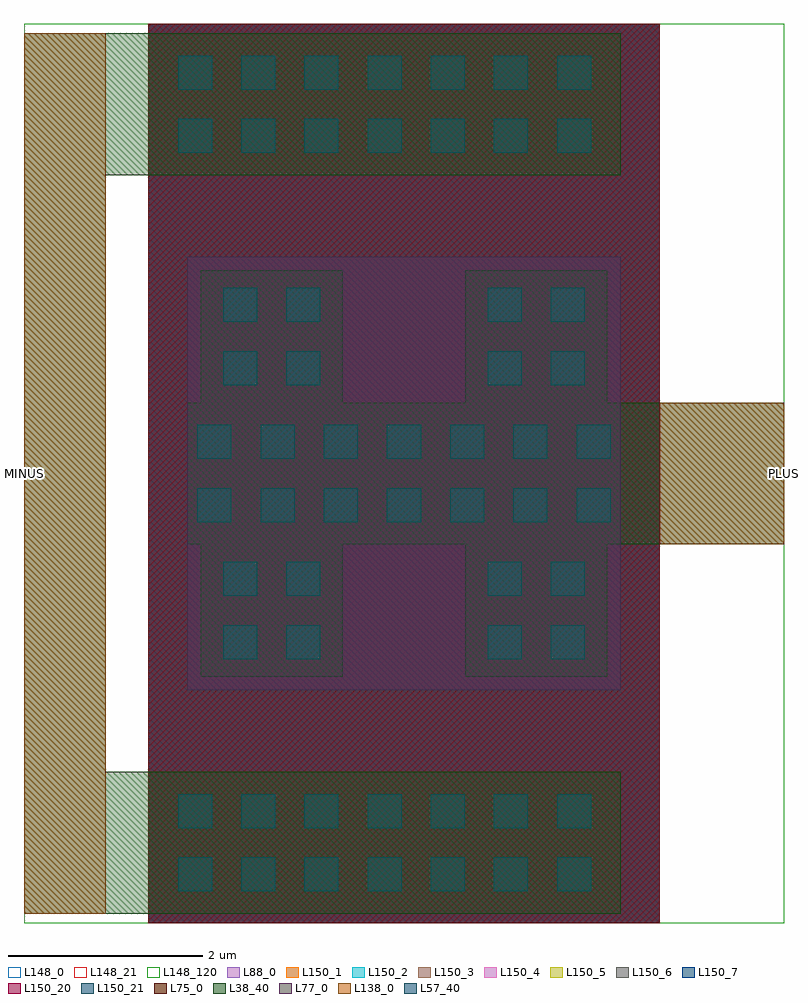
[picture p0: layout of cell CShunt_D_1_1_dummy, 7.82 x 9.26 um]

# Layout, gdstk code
import gdstk
lib = gdstk.Library(unit=1e-6, precision=1e-09)
def R(c, l, rs):  # rectangles x0, y0, x1, y1
    for r in rs: c.add(gdstk.rectangle(r[:2], r[2:], *l))
def A(c, l, x, y, w, h, nx, ny, dx, dy):  # array of equal rectangles
    R(c, l, [(x+i*dx, y+j*dy, x+i*dx+w, y+j*dy+h) for i in range(nx) for j in range(ny)])
L38_40 = (38, 40)
L57_40 = (57, 40)
L75_0 = (75, 0)
L77_0 = (77, 0)
L88_0 = (88, 0)
L138_0 = (138, 0)
L148_0 = (148, 0)
L148_21 = (148, 21)
L148_120 = (148, 120)
L150_1 = (150, 1)
L150_2 = (150, 2)
L150_3 = (150, 3)
L150_4 = (150, 4)
L150_5 = (150, 5)
L150_6 = (150, 6)
L150_7 = (150, 7)
L150_20 = (150, 20)
L150_21 = (150, 21)

cshunt_d_1_1_dummy = lib.new_cell('CShunt_D_1_1_dummy')
R(cshunt_d_1_1_dummy, L38_40, [(-1.68,-2.3,4.46,-0.84), (-1.68,-0.84,-0.84,5.3), (0.14,0.14,1.6,4.32), (2.86,0.14,4.32,4.32), (0,1.5,6.14,2.96), (-1.68,5.3,4.46,6.76)])
A(cshunt_d_1_1_dummy, L57_40, -0.095, -2.07, 0.35, 0.35, 7, 2, 0.65, 0.65)
A(cshunt_d_1_1_dummy, L57_40, 0.105, 1.73, 0.35, 0.35, 7, 2, 0.65, 0.65)
A(cshunt_d_1_1_dummy, L57_40, -0.095, 5.53, 0.35, 0.35, 7, 2, 0.65, 0.65)
R(cshunt_d_1_1_dummy, L57_40, [(0.37,0.32,0.72,0.67), (1.02,0.32,1.37,0.67), (3.09,0.32,3.44,0.67), (3.74,0.32,4.09,0.67), (0.37,0.97,0.72,1.32), (1.02,0.97,1.37,1.32), (3.09,0.97,3.44,1.32), (3.74,0.97,4.09,1.32), (0.37,3.14,0.72,3.49), (1.02,3.14,1.37,3.49), (3.09,3.14,3.44,3.49), (3.74,3.14,4.09,3.49), (0.37,3.79,0.72,4.14), (1.02,3.79,1.37,4.14), (3.09,3.79,3.44,4.14), (3.74,3.79,4.09,4.14)])
R(cshunt_d_1_1_dummy, L75_0, [(-0.4,-2.4,4.86,6.86)])
R(cshunt_d_1_1_dummy, L77_0, [(0,0,4.46,4.46)])
R(cshunt_d_1_1_dummy, L88_0, [(-0.4,-2.4,4.86,6.86)])
R(cshunt_d_1_1_dummy, L138_0, [(-1.68,-2.3,-0.84,6.76), (4.86,1.5,6.14,2.96)])
R(cshunt_d_1_1_dummy, L148_0, [(-1.68,-2.4,6.14,6.86)])
R(cshunt_d_1_1_dummy, L148_21, [(-1.68,-2.4,6.14,6.86)])
R(cshunt_d_1_1_dummy, L148_120, [(-1.68,-2.4,6.14,6.86)])
R(cshunt_d_1_1_dummy, L150_1, [(-0.4,-2.4,4.86,6.86)])
R(cshunt_d_1_1_dummy, L150_2, [(-0.4,-2.4,4.86,6.86)])
R(cshunt_d_1_1_dummy, L150_3, [(-0.4,-2.4,4.86,6.86)])
R(cshunt_d_1_1_dummy, L150_4, [(-0.4,-2.4,4.86,6.86)])
R(cshunt_d_1_1_dummy, L150_5, [(-0.4,-2.4,4.86,6.86)])
R(cshunt_d_1_1_dummy, L150_6, [(-0.4,-2.4,4.86,6.86)])
R(cshunt_d_1_1_dummy, L150_7, [(-0.4,-2.4,4.86,6.86)])
R(cshunt_d_1_1_dummy, L150_20, [(-0.4,-2.4,4.86,6.86)])
R(cshunt_d_1_1_dummy, L150_21, [(-0.4,-2.4,4.86,6.86)])
cshunt_d_1_1_dummy.add(gdstk.Label('MINUS', (-1.68,2.23), layer=138, texttype=0))
cshunt_d_1_1_dummy.add(gdstk.Label('PLUS', (6.14,2.23), layer=138, texttype=0))

lib.write_gds('CShunt_D_1_1_dummy.gds')
